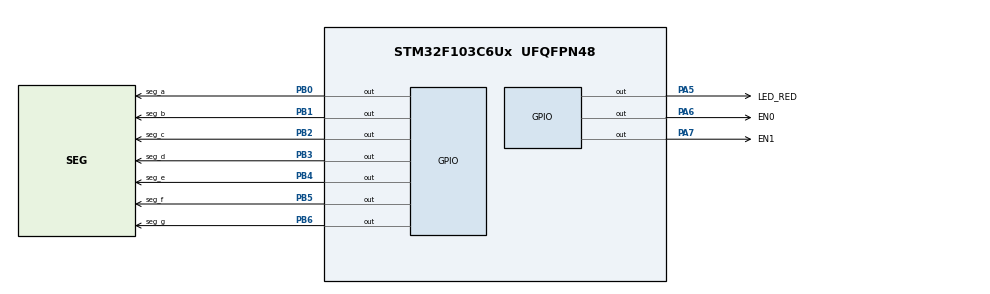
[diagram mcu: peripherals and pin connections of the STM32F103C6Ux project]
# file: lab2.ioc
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Mcu.Family=STM32F1
Mcu.Name=STM32F103C6Ux
Mcu.Package=UFQFPN48
NVIC.PriorityGroup=NVIC_PRIORITYGROUP_4
NVIC.TIM2_IRQn=true\:0\:0\:false\:false\:true\:true\:true
PA5.GPIO_Label=LED_RED
PA5.Signal=GPIO_Output
PA6.GPIO_Label=EN0
PA6.Signal=GPIO_Output
PA7.GPIO_Label=EN1
PA7.Signal=GPIO_Output
PB0.GPIO_Label=seg_a
PB0.Signal=GPIO_Output
PB1.GPIO_Label=seg_b
PB1.Signal=GPIO_Output
PB2.GPIO_Label=seg_c
PB2.Signal=GPIO_Output
PB3.GPIO_Label=seg_d
PB3.Signal=GPIO_Output
PB4.GPIO_Label=seg_e
PB4.Signal=GPIO_Output
PB5.GPIO_Label=seg_f
PB5.Signal=GPIO_Output
PB6.GPIO_Label=seg_g
PB6.Signal=GPIO_Output
ProjectManager.HeapSize=0x200
ProjectManager.StackSize=0x400
ProjectManager.TargetToolchain=STM32CubeIDE
RCC.APB1Freq_Value=8000000
RCC.APB2Freq_Value=8000000
TIM2.Period=9
TIM2.Prescaler=7999
VP_SYS_VS_ND.Mode=No_Debug
VP_TIM2_VS_ClockSourceINT.Mode=Internal
board=custom

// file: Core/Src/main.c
/* USER CODE BEGIN Header */
/**
  ******************************************************************************
  * @file           : main.c
  * @brief          : Main program body
  ******************************************************************************
  * @attention
  *
  * <h2><center>&copy; Copyright (c) 2025 STMicroelectronics.
  * All rights reserved.</center></h2>
  *
  * This software component is licensed by ST under BSD 3-Clause license,
  * the "License"; You may not use this file except in compliance with the
  * License. You may obtain a copy of the License at:
  *                        opensource.org/licenses/BSD-3-Clause
  *
  ******************************************************************************
  */
/* USER CODE END Header */
#include "main.h"

/* USER CODE BEGIN Includes */
#include "software_timer.h"
/* USER CODE END Includes */

TIM_HandleTypeDef htim2;

void SystemClock_Config(void);
static void MX_GPIO_Init(void);
static void MX_TIM2_Init(void);

int main(void)
{

  /* MCU Configuration--------------------------------------------------------*/

  /* Reset of all peripherals, Initializes the Flash interface and the Systick. */
  HAL_Init();

  /* Configure the system clock */
  SystemClock_Config();

  /* Initialize all configured peripherals */
  MX_GPIO_Init();
  MX_TIM2_Init();
  /* USER CODE BEGIN 2 */
  HAL_TIM_Base_Start_IT (&htim2);
  void display7SEG(int num) {
  	// First, turn all off
  	HAL_GPIO_WritePin(seg_a_GPIO_Port, seg_a_Pin, GPIO_PIN_SET);
  	HAL_GPIO_WritePin(seg_b_GPIO_Port, seg_b_Pin, GPIO_PIN_SET);
  	HAL_GPIO_WritePin(seg_c_GPIO_Port, seg_c_Pin, GPIO_PIN_SET);
  	HAL_GPIO_WritePin(seg_d_GPIO_Port, seg_d_Pin, GPIO_PIN_SET);
  	HAL_GPIO_WritePin(seg_e_GPIO_Port, seg_e_Pin, GPIO_PIN_SET);
  	HAL_GPIO_WritePin(seg_f_GPIO_Port, seg_f_Pin, GPIO_PIN_SET);
  	HAL_GPIO_WritePin(seg_g_GPIO_Port, seg_g_Pin, GPIO_PIN_SET);

  	switch (num) {
  	  case 0:
  		  HAL_GPIO_WritePin(seg_a_GPIO_Port, seg_a_Pin, GPIO_PIN_RESET);
  		  HAL_GPIO_WritePin(seg_b_GPIO_Port, seg_b_Pin, GPIO_PIN_RESET);
  		  HAL_GPIO_WritePin(seg_c_GPIO_Port, seg_c_Pin, GPIO_PIN_RESET);
  		  HAL_GPIO_WritePin(seg_d_GPIO_Port, seg_d_Pin, GPIO_PIN_RESET);
  		  HAL_GPIO_WritePin(seg_e_GPIO_Port, seg_e_Pin, GPIO_PIN_RESET);
  		  HAL_GPIO_WritePin(seg_f_GPIO_Port, seg_f_Pin, GPIO_PIN_RESET);
  		  break;
  	  case 1:
  		  HAL_GPIO_WritePin(seg_b_GPIO_Port, seg_b_Pin, GPIO_PIN_RESET);
  		  HAL_GPIO_WritePin(seg_c_GPIO_Port, seg_c_Pin, GPIO_PIN_RESET);
  		  break;
  	  case 2:
  		  HAL_GPIO_WritePin(seg_a_GPIO_Port, seg_a_Pin, GPIO_PIN_RESET);
  		  HAL_GPIO_WritePin(seg_b_GPIO_Port, seg_b_Pin, GPIO_PIN_RESET);
  		  HAL_GPIO_WritePin(seg_d_GPIO_Port, seg_d_Pin, GPIO_PIN_RESET);
  		  HAL_GPIO_WritePin(seg_e_GPIO_Port, seg_e_Pin, GPIO_PIN_RESET);
  		  HAL_GPIO_WritePin(seg_g_GPIO_Port, seg_g_Pin, GPIO_PIN_RESET);
  		  break;
  	  case 3:
  		  HAL_GPIO_WritePin(seg_a_GPIO_Port, seg_a_Pin, GPIO_PIN_RESET);
  		  HAL_GPIO_WritePin(seg_b_GPIO_Port, seg_b_Pin, GPIO_PIN_RESET);
  		  HAL_GPIO_WritePin(seg_c_GPIO_Port, seg_c_Pin, GPIO_PIN_RESET);
  		  HAL_GPIO_WritePin(seg_d_GPIO_Port, seg_d_Pin, GPIO_PIN_RESET);
  		  HAL_GPIO_WritePin(seg_g_GPIO_Port, seg_g_Pin, GPIO_PIN_RESET);
  		  break;
  	  case 4:
  		  HAL_GPIO_WritePin(seg_b_GPIO_Port, seg_b_Pin, GPIO_PIN_RESET);
  		  HAL_GPIO_WritePin(seg_c_GPIO_Port, seg_c_Pin, GPIO_PIN_RESET);
  		  HAL_GPIO_WritePin(seg_f_GPIO_Port, seg_f_Pin, GPIO_PIN_RESET);
  		  HAL_GPIO_WritePin(seg_g_GPIO_Port, seg_g_Pin, GPIO_PIN_RESET);
  		  break;
  	  case 5:
  		  HAL_GPIO_WritePin(seg_a_GPIO_Port, seg_a_Pin, GPIO_PIN_RESET);
  		  HAL_GPIO_WritePin(seg_c_GPIO_Port, seg_c_Pin, GPIO_PIN_RESET);
  		  HAL_GPIO_WritePin(seg_d_GPIO_Port, seg_d_Pin, GPIO_PIN_RESET);
  		  HAL_GPIO_WritePin(seg_f_GPIO_Port, seg_f_Pin, GPIO_PIN_RESET);
  		  HAL_GPIO_WritePin(seg_g_GPIO_Port, seg_g_Pin, GPIO_PIN_RESET);
  		  break;
  	  case 6:
  		  HAL_GPIO_WritePin(seg_a_GPIO_Port, seg_a_Pin, GPIO_PIN_RESET);
  		  HAL_GPIO_WritePin(seg_c_GPIO_Port, seg_c_Pin, GPIO_PIN_RESET);
  		  HAL_GPIO_WritePin(seg_d_GPIO_Port, seg_d_Pin, GPIO_PIN_RESET);
  		  HAL_GPIO_WritePin(seg_e_GPIO_Port, seg_e_Pin, GPIO_PIN_RESET);
  		  HAL_GPIO_WritePin(seg_f_GPIO_Port, seg_f_Pin, GPIO_PIN_RESET);
  		  HAL_GPIO_WritePin(seg_g_GPIO_Port, seg_g_Pin, GPIO_PIN_RESET);
  		  break;
  	  case 7:
  		  HAL_GPIO_WritePin(seg_a_GPIO_Port, seg_a_Pin, GPIO_PIN_RESET);
  		  HAL_GPIO_WritePin(seg_b_GPIO_Port, seg_b_Pin, GPIO_PIN_RESET);
  		  HAL_GPIO_WritePin(seg_c_GPIO_Port, seg_c_Pin, GPIO_PIN_RESET);
  		  break;
  	  case 8:
  		  HAL_GPIO_WritePin(seg_a_GPIO_Port, seg_a_Pin, GPIO_PIN_RESET);
  		  HAL_GPIO_WritePin(seg_b_GPIO_Port, seg_b_Pin, GPIO_PIN_RESET);
  		  HAL_GPIO_WritePin(seg_c_GPIO_Port, seg_c_Pin, GPIO_PIN_RESET);
  		  HAL_GPIO_WritePin(seg_d_GPIO_Port, seg_d_Pin, GPIO_PIN_RESET);
  		  HAL_GPIO_WritePin(seg_e_GPIO_Port, seg_e_Pin, GPIO_PIN_RESET);
  		  HAL_GPIO_WritePin(seg_f_GPIO_Port, seg_f_Pin, GPIO_PIN_RESET);
  		  HAL_GPIO_WritePin(seg_g_GPIO_Port, seg_g_Pin, GPIO_PIN_RESET);
  		  break;
  	  case 9:
  		  HAL_GPIO_WritePin(seg_a_GPIO_Port, seg_a_Pin, GPIO_PIN_RESET);
  		  HAL_GPIO_WritePin(seg_b_GPIO_Port, seg_b_Pin, GPIO_PIN_RESET);
  		  HAL_GPIO_WritePin(seg_c_GPIO_Port, seg_c_Pin, GPIO_PIN_RESET);
  		  HAL_GPIO_WritePin(seg_d_GPIO_Port, seg_d_Pin, GPIO_PIN_RESET);
  		  HAL_GPIO_WritePin(seg_f_GPIO_Port, seg_f_Pin, GPIO_PIN_RESET);
  		  HAL_GPIO_WritePin(seg_g_GPIO_Port, seg_g_Pin, GPIO_PIN_RESET);
  		  break;
  	}
  }
  /* USER CODE END 2 */

  /* Infinite loop */
  /* USER CODE BEGIN WHILE */
  setTimer1(100);
  setTimer2(50);
  setTimer3(100);
  while (1)
  {
	  //RED_LED
	  if(timer1_flag == 1){
		  setTimer1(100);
		  //TODO
		  HAL_GPIO_TogglePin(LED_RED_GPIO_Port, LED_RED_Pin);
	  }
	  //7seg
	  if(timer2_flag == 1){
		  setTimer2(50);
		  //TODO
		  HAL_GPIO_WritePin(EN0_GPIO_Port, EN0_Pin, GPIO_PIN_RESET);
		  HAL_GPIO_WritePin(EN1_GPIO_Port, EN1_Pin, GPIO_PIN_SET);
		  display7SEG(1);
	  }
	  if(timer3_flag == 1){
		  setTimer3(100);
		  //TODO
		  HAL_GPIO_WritePin(EN0_GPIO_Port, EN0_Pin, GPIO_PIN_SET);
		  HAL_GPIO_WritePin(EN1_GPIO_Port, EN1_Pin, GPIO_PIN_RESET);
		  display7SEG(2);
	  }

    /* USER CODE END WHILE */

  }
}

void SystemClock_Config(void)
{
  RCC_OscInitTypeDef RCC_OscInitStruct = {0};
  RCC_ClkInitTypeDef RCC_ClkInitStruct = {0};

  /** Initializes the RCC Oscillators according to the specified parameters
  * in the RCC_OscInitTypeDef structure.
  */
  RCC_OscInitStruct.OscillatorType = RCC_OSCILLATORTYPE_HSI;
  RCC_OscInitStruct.HSIState = RCC_HSI_ON;
  RCC_OscInitStruct.HSICalibrationValue = RCC_HSICALIBRATION_DEFAULT;
  RCC_OscInitStruct.PLL.PLLState = RCC_PLL_NONE;
  if (HAL_RCC_OscConfig(&RCC_OscInitStruct) != HAL_OK)
  {
    Error_Handler();
  }
  /** Initializes the CPU, AHB and APB buses clocks
  */
  RCC_ClkInitStruct.ClockType = RCC_CLOCKTYPE_HCLK|RCC_CLOCKTYPE_SYSCLK
                              |RCC_CLOCKTYPE_PCLK1|RCC_CLOCKTYPE_PCLK2;
  RCC_ClkInitStruct.SYSCLKSource = RCC_SYSCLKSOURCE_HSI;
  RCC_ClkInitStruct.AHBCLKDivider = RCC_SYSCLK_DIV1;
  RCC_ClkInitStruct.APB1CLKDivider = RCC_HCLK_DIV1;
  RCC_ClkInitStruct.APB2CLKDivider = RCC_HCLK_DIV1;

  if (HAL_RCC_ClockConfig(&RCC_ClkInitStruct, FLASH_LATENCY_0) != HAL_OK)
  {
    Error_Handler();
  }
}

static void MX_TIM2_Init(void)
{

  TIM_ClockConfigTypeDef sClockSourceConfig = {0};
  TIM_MasterConfigTypeDef sMasterConfig = {0};

  htim2.Instance = TIM2;
  htim2.Init.Prescaler = 7999;
  htim2.Init.CounterMode = TIM_COUNTERMODE_UP;
  htim2.Init.Period = 9;
  htim2.Init.ClockDivision = TIM_CLOCKDIVISION_DIV1;
  htim2.Init.AutoReloadPreload = TIM_AUTORELOAD_PRELOAD_DISABLE;
  if (HAL_TIM_Base_Init(&htim2) != HAL_OK)
  {
    Error_Handler();
  }
  sClockSourceConfig.ClockSource = TIM_CLOCKSOURCE_INTERNAL;
  if (HAL_TIM_ConfigClockSource(&htim2, &sClockSourceConfig) != HAL_OK)
  {
    Error_Handler();
  }
  sMasterConfig.MasterOutputTrigger = TIM_TRGO_RESET;
  sMasterConfig.MasterSlaveMode = TIM_MASTERSLAVEMODE_DISABLE;
  if (HAL_TIMEx_MasterConfigSynchronization(&htim2, &sMasterConfig) != HAL_OK)
  {
    Error_Handler();
  }

}

static void MX_GPIO_Init(void)
{
  GPIO_InitTypeDef GPIO_InitStruct = {0};

  /* GPIO Ports Clock Enable */
  __HAL_RCC_GPIOA_CLK_ENABLE();
  __HAL_RCC_GPIOB_CLK_ENABLE();

  /*Configure GPIO pin Output Level */
  HAL_GPIO_WritePin(GPIOA, LED_RED_Pin|EN0_Pin|EN1_Pin, GPIO_PIN_RESET);

  /*Configure GPIO pin Output Level */
  HAL_GPIO_WritePin(GPIOB, seg_a_Pin|seg_b_Pin|seg_c_Pin|seg_d_Pin
                          |seg_e_Pin|seg_f_Pin|seg_g_Pin, GPIO_PIN_RESET);

  /*Configure GPIO pins : LED_RED_Pin EN0_Pin EN1_Pin */
  GPIO_InitStruct.Pin = LED_RED_Pin|EN0_Pin|EN1_Pin;
  GPIO_InitStruct.Mode = GPIO_MODE_OUTPUT_PP;
  GPIO_InitStruct.Pull = GPIO_NOPULL;
  GPIO_InitStruct.Speed = GPIO_SPEED_FREQ_LOW;
  HAL_GPIO_Init(GPIOA, &GPIO_InitStruct);

  /*Configure GPIO pins : seg_a_Pin seg_b_Pin seg_c_Pin seg_d_Pin
                           seg_e_Pin seg_f_Pin seg_g_Pin */
  GPIO_InitStruct.Pin = seg_a_Pin|seg_b_Pin|seg_c_Pin|seg_d_Pin
                          |seg_e_Pin|seg_f_Pin|seg_g_Pin;
  GPIO_InitStruct.Mode = GPIO_MODE_OUTPUT_PP;
  GPIO_InitStruct.Pull = GPIO_NOPULL;
  GPIO_InitStruct.Speed = GPIO_SPEED_FREQ_LOW;
  HAL_GPIO_Init(GPIOB, &GPIO_InitStruct);

}

/* USER CODE BEGIN 4 */
void HAL_TIM_PeriodElapsedCallback ( TIM_HandleTypeDef * htim ){
	timerRun();
}
/* USER CODE END 4 */

void Error_Handler(void)
{
  __disable_irq();
  while (1)
  {
  }
}

/************************ (C) COPYRIGHT STMicroelectronics *****END OF FILE****/
